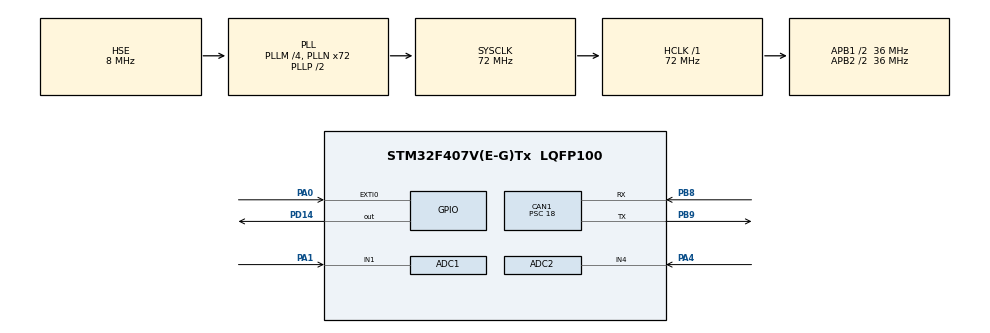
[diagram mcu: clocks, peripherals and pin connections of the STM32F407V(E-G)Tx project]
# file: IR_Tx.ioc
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ADC1.Channel-0\#ChannelRegularConversion=ADC_CHANNEL_1
ADC1.NbrOfConversionFlag=1
ADC1.Rank-0\#ChannelRegularConversion=1
ADC1.SamplingTime-0\#ChannelRegularConversion=ADC_SAMPLETIME_3CYCLES
ADC1.master=1
ADC2.Channel-1\#ChannelRegularConversion=ADC_CHANNEL_4
ADC2.NbrOfConversionFlag=1
ADC2.Rank-1\#ChannelRegularConversion=1
ADC2.SamplingTime-1\#ChannelRegularConversion=ADC_SAMPLETIME_3CYCLES
CAN1.BS1=CAN_BS1_2TQ
CAN1.CalculateBaudRate=500000
CAN1.CalculateTimeBit=2000
CAN1.CalculateTimeQuantum=500.0
CAN1.Prescaler=18
Mcu.Family=STM32F4
Mcu.Name=STM32F407V(E-G)Tx
Mcu.Package=LQFP100
NVIC.CAN1_RX0_IRQn=true\:0\:0\:false\:false\:true\:true\:true\:true
NVIC.EXTI0_IRQn=true\:0\:0\:false\:false\:true\:true\:true\:true
NVIC.PriorityGroup=NVIC_PRIORITYGROUP_0
PA0-WKUP.Signal=GPXTI0
PA1.Signal=ADCx_IN1
PA4.Signal=ADCx_IN4
PB8.Mode=CAN_Activate
PB8.Signal=CAN1_RX
PB9.Mode=CAN_Activate
PB9.Signal=CAN1_TX
PD14.Signal=GPIO_Output
PH0-OSC_IN.Mode=HSE-External-Oscillator
PH0-OSC_IN.Signal=RCC_OSC_IN
PH1-OSC_OUT.Mode=HSE-External-Oscillator
PH1-OSC_OUT.Signal=RCC_OSC_OUT
ProjectManager.HeapSize=0x200
ProjectManager.StackSize=0x400
ProjectManager.TargetToolchain=STM32CubeIDE
RCC.48MHZClocksFreq_Value=20571428.57142857
RCC.AHBFreq_Value=72000000
RCC.APB1CLKDivider=RCC_HCLK_DIV2
RCC.APB1Freq_Value=36000000
RCC.APB1TimFreq_Value=72000000
RCC.APB2CLKDivider=RCC_HCLK_DIV2
RCC.APB2Freq_Value=36000000
RCC.APB2TimFreq_Value=72000000
RCC.CortexFreq_Value=72000000
RCC.HCLKFreq_Value=72000000
RCC.HSE_VALUE=8000000
RCC.HSI_VALUE=16000000
RCC.LSE_VALUE=32768
RCC.PLLM=4
RCC.PLLN=72
RCC.PLLQ=7
RCC.PLLSourceVirtual=RCC_PLLSOURCE_HSE
RCC.SYSCLKFreq_VALUE=72000000
RCC.SYSCLKSource=RCC_SYSCLKSOURCE_PLLCLK
RCC.VCOOutputFreq_Value=144000000
SH.ADCx_IN1.0=ADC1_IN1,IN1
SH.ADCx_IN4.0=ADC2_IN4,IN4
TIM6.Prescaler=72-1
VP_TIM6_VS_ClockSourceINT.Mode=Enable_Timer
board=STM32F407G-DISC1

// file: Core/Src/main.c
/* USER CODE BEGIN Header */
/**
  ******************************************************************************
  * @file           : main.c
  * @brief          : Main program body
  ******************************************************************************
  * @attention
  *
  * Copyright (c) 2025 STMicroelectronics.
  * All rights reserved.
  *
  * This software is licensed under terms that can be found in the LICENSE file
  * in the root directory of this software component.
  * If no LICENSE file comes with this software, it is provided AS-IS.
  *
  ******************************************************************************
  */
/* USER CODE END Header */
#include "main.h"

/* USER CODE BEGIN Includes */
#include <stdio.h>
#include <string.h>

/* CAN Tx mailbox */
uint32_t TxMailbox;

/* USER CODE END Includes */

/* USER CODE BEGIN PD */
#define PULSES_PER_REVOLUTION 1

/* USER CODE END PD */

ADC_HandleTypeDef hadc1;
ADC_HandleTypeDef hadc2;

CAN_HandleTypeDef hcan1;

TIM_HandleTypeDef htim6;

/* USER CODE BEGIN PV */
volatile uint32_t pulse_count = 0;
volatile uint16_t rpm = 0;
volatile uint16_t received_rpm = 0;
float tempC = 0.0;
float LevelPercent = 0.0;

uint32_t adcValue1 = 0;
uint32_t adcValue2 = 0;

/* USER CODE END PV */

void SystemClock_Config(void);
static void MX_GPIO_Init(void);
static void MX_CAN1_Init(void);
static void MX_ADC1_Init(void);
static void MX_TIM6_Init(void);
static void MX_ADC2_Init(void);
/* USER CODE BEGIN PFP */
void delay(uint16_t time)
{
	__HAL_TIM_SET_COUNTER(&htim6, 0);
	while((__HAL_TIM_GET_COUNTER(&htim6)) < time);
}

/* USER CODE END PFP */

/* USER CODE BEGIN 0 */
void HAL_GPIO_EXTI_Callback(uint16_t GPIO_Pin)
{
  if (GPIO_Pin == GPIO_PIN_0)
  {
    pulse_count++; // Increment pulse count on falling edge
  }
}

/* USER CODE END 0 */

int main(void)
{

  /* MCU Configuration--------------------------------------------------------*/

  /* Reset of all peripherals, Initializes the Flash interface and the Systick. */
  HAL_Init();

  /* Configure the system clock */
  SystemClock_Config();

  /* Initialize all configured peripherals */
  MX_GPIO_Init();
  MX_CAN1_Init();
  MX_ADC1_Init();
  MX_TIM6_Init();
  MX_ADC2_Init();
  /* USER CODE BEGIN 2 */

  /* Start CAN */
  if (HAL_CAN_Start(&hcan1) != HAL_OK) {
  		Error_Handler();
  	}
  HAL_TIM_Base_Start(&htim6);

    //char msg_buffer[50];

  /* USER CODE END 2 */

  /* Infinite loop */
  while (1)
  {

    /* USER CODE BEGIN 3 */
	      pulse_count = 0; // Reset pulse count
	      HAL_NVIC_EnableIRQ(EXTI0_IRQn); // Enable interrupt
	      HAL_Delay(1000); // Wait for 1 second to count pulses
	      HAL_NVIC_DisableIRQ(EXTI0_IRQn); // Disable interrupt to avoid race conditions

	  		HAL_ADC_Start(&hadc1);
	  		if (HAL_ADC_PollForConversion(&hadc1, 100) == HAL_OK)
	  		{
	  			adcValue1 = HAL_ADC_GetValue(&hadc1);

	  		}
	  		HAL_ADC_Stop(&hadc1);
	  		HAL_ADC_Start(&hadc2);
	  			  		if (HAL_ADC_PollForConversion(&hadc2, 100) == HAL_OK)
	  			  		{
	  			  			adcValue2 = HAL_ADC_GetValue(&hadc2);

	  			  		}
	  			  		HAL_ADC_Stop(&hadc2);

	  		LevelPercent = (adcValue2 / 4095.0f)*100.0f;
	  		tempC =(adcValue1 * 3.3 / 4095)*10;
	  		rpm = (pulse_count * 1) / PULSES_PER_REVOLUTION;

	  		uint8_t Temperature = (uint8_t)tempC;

	  		CAN_TxHeaderTypeDef TxHeader;
	  		uint8_t TxData[4];
	  		TxHeader.StdId = 0x321;
	  		TxHeader.ExtId = 0;
	  		TxHeader.IDE = CAN_ID_STD;
	  		TxHeader.RTR = CAN_RTR_DATA;
	  		TxHeader.DLC = 4;
	  		TxHeader.TransmitGlobalTime = DISABLE;

	  		TxData[0] = Temperature;
	  		TxData[1] = LevelPercent;
 		    TxData[2] = (rpm >> 8) & 0xFF;
 		    TxData[3] = rpm & 0xFF;

	  		if (HAL_CAN_AddTxMessage(&hcan1, &TxHeader, TxData, &TxMailbox) == HAL_OK)
	  		{
	  			HAL_GPIO_WritePin(GPIOD, GPIO_PIN_14, GPIO_PIN_SET);
	  			HAL_Delay(500);
	  			HAL_GPIO_WritePin(GPIOD, GPIO_PIN_14, GPIO_PIN_RESET);
	  		}

	  		HAL_Delay(1000);
	  	}

  /* USER CODE END 3 */
}

void SystemClock_Config(void)
{
  RCC_OscInitTypeDef RCC_OscInitStruct = {0};
  RCC_ClkInitTypeDef RCC_ClkInitStruct = {0};

  /** Configure the main internal regulator output voltage
  */
  __HAL_RCC_PWR_CLK_ENABLE();
  __HAL_PWR_VOLTAGESCALING_CONFIG(PWR_REGULATOR_VOLTAGE_SCALE1);

  /** Initializes the RCC Oscillators according to the specified parameters
  * in the RCC_OscInitTypeDef structure.
  */
  RCC_OscInitStruct.OscillatorType = RCC_OSCILLATORTYPE_HSE;
  RCC_OscInitStruct.HSEState = RCC_HSE_ON;
  RCC_OscInitStruct.PLL.PLLState = RCC_PLL_ON;
  RCC_OscInitStruct.PLL.PLLSource = RCC_PLLSOURCE_HSE;
  RCC_OscInitStruct.PLL.PLLM = 4;
  RCC_OscInitStruct.PLL.PLLN = 72;
  RCC_OscInitStruct.PLL.PLLP = RCC_PLLP_DIV2;
  RCC_OscInitStruct.PLL.PLLQ = 7;
  if (HAL_RCC_OscConfig(&RCC_OscInitStruct) != HAL_OK)
  {
    Error_Handler();
  }

  /** Initializes the CPU, AHB and APB buses clocks
  */
  RCC_ClkInitStruct.ClockType = RCC_CLOCKTYPE_HCLK|RCC_CLOCKTYPE_SYSCLK
                              |RCC_CLOCKTYPE_PCLK1|RCC_CLOCKTYPE_PCLK2;
  RCC_ClkInitStruct.SYSCLKSource = RCC_SYSCLKSOURCE_PLLCLK;
  RCC_ClkInitStruct.AHBCLKDivider = RCC_SYSCLK_DIV1;
  RCC_ClkInitStruct.APB1CLKDivider = RCC_HCLK_DIV2;
  RCC_ClkInitStruct.APB2CLKDivider = RCC_HCLK_DIV2;

  if (HAL_RCC_ClockConfig(&RCC_ClkInitStruct, FLASH_LATENCY_2) != HAL_OK)
  {
    Error_Handler();
  }
}

static void MX_ADC1_Init(void)
{

  ADC_ChannelConfTypeDef sConfig = {0};

  /** Configure the global features of the ADC (Clock, Resolution, Data Alignment and number of conversion)
  */
  hadc1.Instance = ADC1;
  hadc1.Init.ClockPrescaler = ADC_CLOCK_SYNC_PCLK_DIV2;
  hadc1.Init.Resolution = ADC_RESOLUTION_12B;
  hadc1.Init.ScanConvMode = DISABLE;
  hadc1.Init.ContinuousConvMode = DISABLE;
  hadc1.Init.DiscontinuousConvMode = DISABLE;
  hadc1.Init.ExternalTrigConvEdge = ADC_EXTERNALTRIGCONVEDGE_NONE;
  hadc1.Init.ExternalTrigConv = ADC_SOFTWARE_START;
  hadc1.Init.DataAlign = ADC_DATAALIGN_RIGHT;
  hadc1.Init.NbrOfConversion = 1;
  hadc1.Init.DMAContinuousRequests = DISABLE;
  hadc1.Init.EOCSelection = ADC_EOC_SINGLE_CONV;
  if (HAL_ADC_Init(&hadc1) != HAL_OK)
  {
    Error_Handler();
  }

  /** Configure for the selected ADC regular channel its corresponding rank in the sequencer and its sample time.
  */
  sConfig.Channel = ADC_CHANNEL_1;
  sConfig.Rank = 1;
  sConfig.SamplingTime = ADC_SAMPLETIME_3CYCLES;
  if (HAL_ADC_ConfigChannel(&hadc1, &sConfig) != HAL_OK)
  {
    Error_Handler();
  }

}

static void MX_ADC2_Init(void)
{

  ADC_ChannelConfTypeDef sConfig = {0};

  /** Configure the global features of the ADC (Clock, Resolution, Data Alignment and number of conversion)
  */
  hadc2.Instance = ADC2;
  hadc2.Init.ClockPrescaler = ADC_CLOCK_SYNC_PCLK_DIV2;
  hadc2.Init.Resolution = ADC_RESOLUTION_12B;
  hadc2.Init.ScanConvMode = DISABLE;
  hadc2.Init.ContinuousConvMode = DISABLE;
  hadc2.Init.DiscontinuousConvMode = DISABLE;
  hadc2.Init.ExternalTrigConvEdge = ADC_EXTERNALTRIGCONVEDGE_NONE;
  hadc2.Init.ExternalTrigConv = ADC_SOFTWARE_START;
  hadc2.Init.DataAlign = ADC_DATAALIGN_RIGHT;
  hadc2.Init.NbrOfConversion = 1;
  hadc2.Init.DMAContinuousRequests = DISABLE;
  hadc2.Init.EOCSelection = ADC_EOC_SINGLE_CONV;
  if (HAL_ADC_Init(&hadc2) != HAL_OK)
  {
    Error_Handler();
  }

  /** Configure for the selected ADC regular channel its corresponding rank in the sequencer and its sample time.
  */
  sConfig.Channel = ADC_CHANNEL_4;
  sConfig.Rank = 1;
  sConfig.SamplingTime = ADC_SAMPLETIME_3CYCLES;
  if (HAL_ADC_ConfigChannel(&hadc2, &sConfig) != HAL_OK)
  {
    Error_Handler();
  }

}

static void MX_CAN1_Init(void)
{

  hcan1.Instance = CAN1;
  hcan1.Init.Prescaler = 18;
  hcan1.Init.Mode = CAN_MODE_NORMAL;
  hcan1.Init.SyncJumpWidth = CAN_SJW_1TQ;
  hcan1.Init.TimeSeg1 = CAN_BS1_2TQ;
  hcan1.Init.TimeSeg2 = CAN_BS2_1TQ;
  hcan1.Init.TimeTriggeredMode = DISABLE;
  hcan1.Init.AutoBusOff = DISABLE;
  hcan1.Init.AutoWakeUp = DISABLE;
  hcan1.Init.AutoRetransmission = DISABLE;
  hcan1.Init.ReceiveFifoLocked = DISABLE;
  hcan1.Init.TransmitFifoPriority = DISABLE;
  if (HAL_CAN_Init(&hcan1) != HAL_OK)
  {
    Error_Handler();
  }
  /* USER CODE BEGIN CAN1_Init 2 */
      CAN_FilterTypeDef canFilterConfig;

      canFilterConfig.FilterActivation = ENABLE;
      canFilterConfig.FilterBank = 0;
      canFilterConfig.FilterFIFOAssignment = CAN_FILTER_FIFO0;
      canFilterConfig.FilterIdHigh = 0x0000;
      canFilterConfig.FilterIdLow = 0x0000;
      canFilterConfig.FilterMaskIdHigh = 0x0000;
      canFilterConfig.FilterMaskIdLow = 0x0000;
      canFilterConfig.FilterMode = CAN_FILTERMODE_IDMASK;
      canFilterConfig.FilterScale = CAN_FILTERSCALE_32BIT;

      if (HAL_CAN_ConfigFilter(&hcan1, &canFilterConfig) != HAL_OK)
      {
          Error_Handler();
      }
  /* USER CODE END CAN1_Init 2 */

}

static void MX_TIM6_Init(void)
{

  TIM_MasterConfigTypeDef sMasterConfig = {0};

  htim6.Instance = TIM6;
  htim6.Init.Prescaler = 72-1;
  htim6.Init.CounterMode = TIM_COUNTERMODE_UP;
  htim6.Init.Period = 65535;
  htim6.Init.AutoReloadPreload = TIM_AUTORELOAD_PRELOAD_DISABLE;
  if (HAL_TIM_Base_Init(&htim6) != HAL_OK)
  {
    Error_Handler();
  }
  sMasterConfig.MasterOutputTrigger = TIM_TRGO_RESET;
  sMasterConfig.MasterSlaveMode = TIM_MASTERSLAVEMODE_DISABLE;
  if (HAL_TIMEx_MasterConfigSynchronization(&htim6, &sMasterConfig) != HAL_OK)
  {
    Error_Handler();
  }

}

static void MX_GPIO_Init(void)
{
  GPIO_InitTypeDef GPIO_InitStruct = {0};

  /* GPIO Ports Clock Enable */
  __HAL_RCC_GPIOH_CLK_ENABLE();
  __HAL_RCC_GPIOA_CLK_ENABLE();
  __HAL_RCC_GPIOD_CLK_ENABLE();
  __HAL_RCC_GPIOB_CLK_ENABLE();

  /*Configure GPIO pin Output Level */
  HAL_GPIO_WritePin(GPIOD, GPIO_PIN_14, GPIO_PIN_RESET);

  /*Configure GPIO pin : PA0 */
  GPIO_InitStruct.Pin = GPIO_PIN_0;
  GPIO_InitStruct.Mode = GPIO_MODE_IT_RISING;
  GPIO_InitStruct.Pull = GPIO_NOPULL;
  HAL_GPIO_Init(GPIOA, &GPIO_InitStruct);

  /*Configure GPIO pin : PD14 */
  GPIO_InitStruct.Pin = GPIO_PIN_14;
  GPIO_InitStruct.Mode = GPIO_MODE_OUTPUT_PP;
  GPIO_InitStruct.Pull = GPIO_NOPULL;
  GPIO_InitStruct.Speed = GPIO_SPEED_FREQ_LOW;
  HAL_GPIO_Init(GPIOD, &GPIO_InitStruct);

  /* EXTI interrupt init*/
  HAL_NVIC_SetPriority(EXTI0_IRQn, 0, 0);
  HAL_NVIC_EnableIRQ(EXTI0_IRQn);

}

void Error_Handler(void)
{
  __disable_irq();
  while (1)
  {
  }
}
